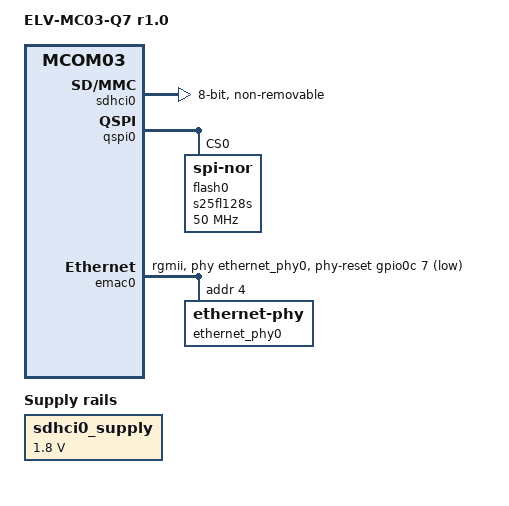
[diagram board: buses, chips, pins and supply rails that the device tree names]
// SPDX-License-Identifier: GPL-2.0+
/*
 * Copyright 2023 RnD Center "ELVEES", JSC
 */

/dts-v1/;

#include <dt-bindings/gpio/gpio.h>
#include <dt-bindings/net/ti-dp83867.h>

#include "mcom03.dtsi"

/ {
	model = "ELV-MC03-Q7 r1.0";
	compatible = "elvees,elvmc03q7-r1.0",
		     "elvees,elvmc03q7",
		     "elvees,mcom03";

	sdhci0_supply: regulator@0 {
		compatible = "regulator-fixed";
		regulator-name = "sdhci0-supply";
		regulator-min-microvolt = <1800000>;
		regulator-max-microvolt = <1800000>;
		regulator-always-on;
	};
};

&gpio0c {
	gpio-line-names = "CAM0_ENA#", "CAM1_ENA#", "CAM0_RST#", "CAM1_RST#",
		"CAM0_GPIO", "CAM1_GPIO", "LVDS_EN", "RGMII_0_RST";
};

/* Connected to eMMC */
&sdhci0 {
	status = "okay";

	non-removable;
	bus-width = <8>;

	vqmmc-supply = <&sdhci0_supply>;
};

&qspi0 {
	status = "okay";

	flash0: s25fl128s@0 {
		#address-cells = <1>;
		#size-cells = <1>;
		compatible = "jedec,spi-nor", "spi-flash";
		reg = <0x0>;
		/* This is the highest frequency at which all commands are
		 * supported by the flash device.
		 */
		spi-max-frequency = <50000000>;

		spi-tx-bus-width = <4>;
		spi-rx-bus-width = <4>;
	};
};

&emac0 {
	phy-mode = "rgmii";
	phy-handle = <&ethernet_phy0>;
	phy-reset-gpios = <&gpio0c 7 GPIO_ACTIVE_LOW>;
	elvees,pads-1v8-en;

	ethernet_phy0: ethernet-phy@4 {
		reg = <0x4>;
		ti,rx-internal-delay = <DP83867_RGMIIDCTL_2_00_NS>;
		ti,tx-internal-delay = <DP83867_RGMIIDCTL_2_00_NS>;
		ti,fifo-depth = <DP83867_PHYCR_FIFO_DEPTH_4_B_NIB>;
	};
};
